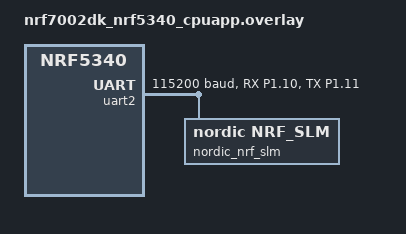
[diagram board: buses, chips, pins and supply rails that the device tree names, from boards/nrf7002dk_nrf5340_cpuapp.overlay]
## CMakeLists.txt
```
#
# Copyright (c) 2018 Nordic Semiconductor
#
# SPDX-License-Identifier: LicenseRef-Nordic-5-Clause
#

cmake_minimum_required(VERSION 3.20.0)

find_package(Zephyr REQUIRED HINTS $ENV{ZEPHYR_BASE})
project(nrf-coap-client)

# NORDIC SDK APP START
target_sources(app PRIVATE src/main.c)
# NORDIC SDK APP END
```

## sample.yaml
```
sample:
  name: modem_nrf_slm_coap
tests:
  sample.drivers.modem_nrf_slm_coap:
    build_only: true
    integration_platforms:
      - nrf7002dk_nrf5340_cpuapp
    platform_allow: nrf7002dk_nrf5340_cpuapp
    tags: ci_build
```

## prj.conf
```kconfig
#
# Copyright (c) 2019 Nordic Semiconductor ASA
#
# SPDX-License-Identifier: LicenseRef-Nordic-5-Clause
#
# General config
CONFIG_ASSERT=y

# Network
CONFIG_NETWORKING=y
CONFIG_NET_SOCKETS=y
CONFIG_NET_OFFLOAD=y
CONFIG_NET_SOCKETS_OFFLOAD=y
CONFIG_NET_SOCKETS_POSIX_NAMES=y
CONFIG_NET_TCP=y
CONFIG_NET_IPV4=y
CONFIG_NET_IPV6=y

CONFIG_DNS_RESOLVER=y
CONFIG_DNS_SERVER_IP_ADDRESSES=y
CONFIG_DNS_SERVER1="8.8.8.8"

# Network management events
CONFIG_NET_CONNECTION_MANAGER=y

# Modem driver
CONFIG_MODEM=y
CONFIG_MODEM_NRF_SLM=y
CONFIG_MODEM_LOG_LEVEL_DBG=y
CONFIG_MODEM_SHELL=y
CONFIG_NET_SHELL=y

CONFIG_LOG=y

# CoAP
CONFIG_COAP=y

# Main thread
CONFIG_MAIN_STACK_SIZE=4096
CONFIG_MINIMAL_LIBC_MALLOC_ARENA_SIZE=2048
```

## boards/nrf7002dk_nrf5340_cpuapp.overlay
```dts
&uart2 {
    status = "okay";
    current-speed = <115200>;
    pinctrl-0 = <&uart2_default>;
    pinctrl-1 = <&uart2_sleep>;
    pinctrl-names = "default", "sleep";
    nordic_nrf_slm: nordic_nrf_slm {
        compatible = "nordic,nrf_slm";
        status = "okay";
    };
};

&pinctrl {
	uart2_default: uart2_default {
		group1 {
			psels = <NRF_PSEL(UART_RX, 1, 10)>;
			bias-pull-up;
		};
		group2 {
			psels = <NRF_PSEL(UART_TX, 1, 11)>;
		};
	};

	uart2_sleep: uart2_sleep {
		group1 {
			psels = <NRF_PSEL(UART_TX, 1, 11)>,
				<NRF_PSEL(UART_RX, 1, 10)>;
			low-power-enable;
		};
	};
};
```

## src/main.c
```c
/*
 * Copyright (c) 2019 Nordic Semiconductor ASA
 *
 * SPDX-License-Identifier: LicenseRef-Nordic-5-Clause
 */

#include <stdio.h>
#include <string.h>

#include <zephyr/kernel.h>
#include <zephyr/net/coap.h>
#include <zephyr/net/socket.h>
#include <zephyr/random/rand32.h>

#define APP_COAP_SEND_INTERVAL_MS 30000
#define APP_COAP_MAX_MSG_LEN 1280
#define APP_COAP_VERSION 1

static int sock;
static struct pollfd fds;
static struct sockaddr server;
static uint16_t next_token;

static uint8_t coap_buf[APP_COAP_MAX_MSG_LEN];

/**@brief Resolves the configured hostname. */
static int server_resolve(void)
{
	int err;
	struct addrinfo *result;

	err = getaddrinfo(CONFIG_COAP_SERVER_HOSTNAME, NULL, NULL, &result);
	if (err != 0) {
		printk("ERROR: getaddrinfo failed %d\n", err);
		return -EIO;
	}

	if (result == NULL) {
		printk("ERROR: Address not found\n");
		return -ENOENT;
	}
	if (result->ai_family == AF_INET) {
		struct sockaddr_in *server4 = ((struct sockaddr_in *)&server);

		server4->sin_addr.s_addr =
			((struct sockaddr_in *)result->ai_addr)->sin_addr.s_addr;
		server4->sin_family = AF_INET;
		server4->sin_port = htons(CONFIG_COAP_SERVER_PORT);
	} else if (result->ai_family == AF_INET6) {
		struct sockaddr_in6 *server6 = ((struct sockaddr_in6 *)&server);

		memcpy(&server6->sin6_addr.s6_addr,
			((struct sockaddr_in6 *)result->ai_addr)->sin6_addr.s6_addr,
			sizeof(server6->sin6_addr.s6_addr));
		server6->sin6_family = AF_INET6;
		server6->sin6_port = htons(CONFIG_COAP_SERVER_PORT);
	}

	/* Free the address. */
	freeaddrinfo(result);

	return 0;
}

/**@brief Initialize the CoAP client */
static int client_init(void)
{
	int err;

	sock = socket(((struct sockaddr *)&server)->sa_family, SOCK_DGRAM, IPPROTO_UDP);
	if (sock < 0) {
		printk("Failed to create CoAP socket: %d.\n", errno);
		return -errno;
	}

	err = connect(sock, (struct sockaddr *)&server,
		      sizeof(struct sockaddr));
	if (err < 0) {
		printk("Connect failed : %d\n", errno);
		return -errno;
	}

	/* Initialize FDS, for poll. */
	fds.fd = sock;
	fds.events = POLLIN;

	/* Randomize token. */
	next_token = sys_rand32_get();

	return 0;
}

/**@brief Handles responses from the remote CoAP server. */
static int client_handle_get_response(uint8_t *buf, int received)
{
	int err;
	struct coap_packet reply;
	const uint8_t *payload;
	uint16_t payload_len;
	uint8_t token[8];
	uint16_t token_len;
	uint8_t temp_buf[16];

	err = coap_packet_parse(&reply, buf, received, NULL, 0);
	if (err < 0) {
		printk("Malformed response received: %d\n", err);
		return err;
	}

	payload = coap_packet_get_payload(&reply, &payload_len);
	token_len = coap_header_get_token(&reply, token);

	if ((token_len != sizeof(next_token)) ||
	    (memcmp(&next_token, token, sizeof(next_token)) != 0)) {
		printk("Invalid token received: 0x%02x%02x\n",
		       token[1], token[0]);
		return 0;
	}

	if (payload_len > 0) {
		snprintf(temp_buf, MIN(payload_len, sizeof(temp_buf)), "%s", payload);
	} else {
		strcpy(temp_buf, "EMPTY");
	}

	printk("CoAP response: code: 0x%x, token 0x%02x%02x, payload: %s\n",
	       coap_header_get_code(&reply), token[1], token[0], temp_buf);

	return 0;
}

/**@biref Send CoAP GET request. */
static int client_get_send(void)
{
	int err;
	struct coap_packet request;

	next_token++;

	err = coap_packet_init(&request, coap_buf, sizeof(coap_buf),
			       APP_COAP_VERSION, COAP_TYPE_NON_CON,
			       sizeof(next_token), (uint8_t *)&next_token,
			       COAP_METHOD_GET, coap_next_id());
	if (err < 0) {
		printk("Failed to create CoAP request, %d\n", err);
		return err;
	}

	err = coap_packet_append_option(&request, COAP_OPTION_URI_PATH,
					(uint8_t *)CONFIG_COAP_RESOURCE,
					strlen(CONFIG_COAP_RESOURCE));
	if (err < 0) {
		printk("Failed to encode CoAP option, %d\n", err);
		return err;
	}

	err = send(sock, request.data, request.offset, 0);
	if (err < 0) {
		printk("Failed to send CoAP request, %d\n", errno);
		return -errno;
	}

	printk("CoAP request sent: token 0x%04x\n", next_token);

	return 0;
}

/* Returns 0 if data is available.
 * Returns -EAGAIN if timeout occured and there is no data.
 * Returns other, negative error code in case of poll error.
 */
static int wait(int timeout)
{
	int ret = poll(&fds, 1, timeout);

	if (ret < 0) {
		printk("poll error: %d\n", errno);
		return -errno;
	}

	if (ret == 0) {
		/* Timeout. */
		return -EAGAIN;
	}

	if ((fds.revents & POLLERR) == POLLERR) {
		printk("wait: POLLERR\n");
		return -EIO;
	}

	if ((fds.revents & POLLNVAL) == POLLNVAL) {
		printk("wait: POLLNVAL\n");
		return -EBADF;
	}

	if ((fds.revents & POLLIN) != POLLIN) {
		return -EAGAIN;
	}

	return 0;
}

void main(void)
{
	int64_t next_msg_time = APP_COAP_SEND_INTERVAL_MS;
	int64_t remaining = 1;
	int err, received;

	printk("The nRF CoAP client sample started\n");

	if (server_resolve() != 0) {
		printk("Failed to resolve server name\n");
		return;
	}

	if (client_init() != 0) {
		printk("Failed to initialize CoAP client\n");
		return;
	}

	next_msg_time = k_uptime_get();

	while (1) {
		if (k_uptime_get() >= next_msg_time) {
			if (client_get_send() != 0) {
				printk("Failed to send GET request, exit...\n");
				break;
			}

			next_msg_time += APP_COAP_SEND_INTERVAL_MS;
			remaining = next_msg_time - k_uptime_get();
		} else {
			k_sleep(K_MSEC(remaining));
			continue;
		}

		if (remaining < 0) {
			remaining = 0;
		}

		err = wait(remaining);
		if (err < 0) {
			if (err == -EAGAIN) {
				printk("No data received\n");
				continue;
			}

			printk("Poll error, exit...\n");
			break;
		}

		received = recv(sock, coap_buf, sizeof(coap_buf), MSG_DONTWAIT);
		printk("Received: %d\n", received);
		if (received < 0) {
			if (errno == EAGAIN || errno == EWOULDBLOCK) {
				printk("socket EAGAIN\n");
				continue;
			} else {
				printk("Socket error, exit...\n");
				break;
			}
		}

		if (received == 0) {
			printk("Empty datagram\n");
			continue;
		}

		err = client_handle_get_response(coap_buf, received);
		if (err < 0) {
			printk("Invalid response, exit...\n");
			break;
		}
	}

	(void)close(sock);
}
```
